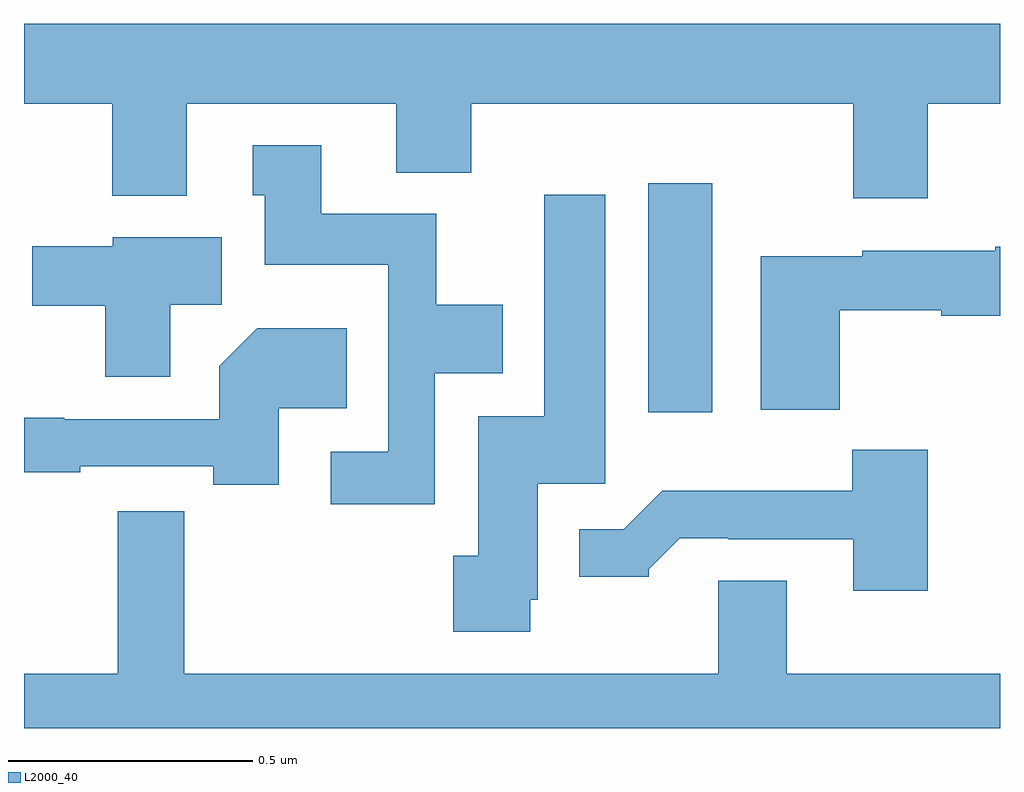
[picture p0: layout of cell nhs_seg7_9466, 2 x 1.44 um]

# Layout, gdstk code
import gdstk
lib = gdstk.Library(unit=1e-6, precision=1e-09)
def R(c, l, rs):  # rectangles x0, y0, x1, y1
    for r in rs: c.add(gdstk.rectangle(r[:2], r[2:], *l))
def P(c, l, *ps):  # polygons
    for p in ps: c.add(gdstk.Polygon(p, *l))
L2000_40 = (2000, 40)

nhs_seg7_9466 = lib.new_cell('nhs_seg7_9466')
R(nhs_seg7_9466, L2000_40, [(239.279,1002.648,239.41,1003.117)])
P(nhs_seg7_9466, L2000_40, [(239.852,1003.28),(240,1003.28),(240,1003.444),(238,1003.444),(238,1003.28),(238.181,1003.28),(238.181,1003.091),(238.333,1003.091),(238.333,1003.28),(238.763,1003.28),(238.763,1003.139),(238.916,1003.139),(238.916,1003.28),(239.699,1003.28),(239.699,1003.086),(239.852,1003.086)],
  [(238.842,1002.728),(238.981,1002.728),(238.981,1002.868),(238.845,1002.868),(238.845,1003.054),(238.609,1003.054),(238.609,1003.195),(238.469,1003.195),(238.469,1003.092),(238.493,1003.092),(238.493,1002.95),(238.746,1002.95),(238.746,1002.567),(238.629,1002.567),(238.629,1002.459),(238.842,1002.459)],
  [(239.037,1002.264),(239.053,1002.264),(239.053,1002.501),(239.191,1002.501),(239.191,1003.093),(239.066,1003.093),(239.066,1002.64),(238.931,1002.64),(238.931,1002.354),(238.88,1002.354),(238.88,1002.198),(239.037,1002.198)],
  [(238.3,1002.868),(238.405,1002.868),(238.405,1003.006),(238.182,1003.006),(238.182,1002.988),(238.017,1002.988),(238.017,1002.866),(238.166,1002.866),(238.166,1002.72),(238.3,1002.72)],
  [(239.672,1002.857),(239.88,1002.857),(239.88,1002.845),(240,1002.845),(240,1002.987),(239.99,1002.987),(239.99,1002.979),(239.718,1002.979),(239.718,1002.967),(239.51,1002.967),(239.51,1002.653),(239.672,1002.653)],
  [(238.522,1002.656),(238.661,1002.656),(238.661,1002.82),(238.478,1002.82),(238.4,1002.742),(238.4,1002.633),(238.082,1002.633),(238.082,1002.636),(238,1002.636),(238,1002.525),(238.115,1002.525),(238.115,1002.537),(238.388,1002.537),(238.388,1002.499),(238.522,1002.499)],
  [(239.852,1002.571),(239.697,1002.571),(239.697,1002.487),(239.308,1002.487),(239.229,1002.408),(239.138,1002.408),(239.138,1002.311),(239.28,1002.311),(239.28,1002.326),(239.344,1002.39),(239.443,1002.39),(239.443,1002.387),(239.699,1002.387),(239.699,1002.282),(239.852,1002.282)],
  [(240,1002.112),(239.563,1002.112),(239.563,1002.302),(239.423,1002.302),(239.423,1002.112),(238.328,1002.112),(238.328,1002.445),(238.192,1002.445),(238.192,1002.112),(238,1002.112),(238,1002),(240,1002)])

lib.write_gds('nhs_seg7_9466.gds')
